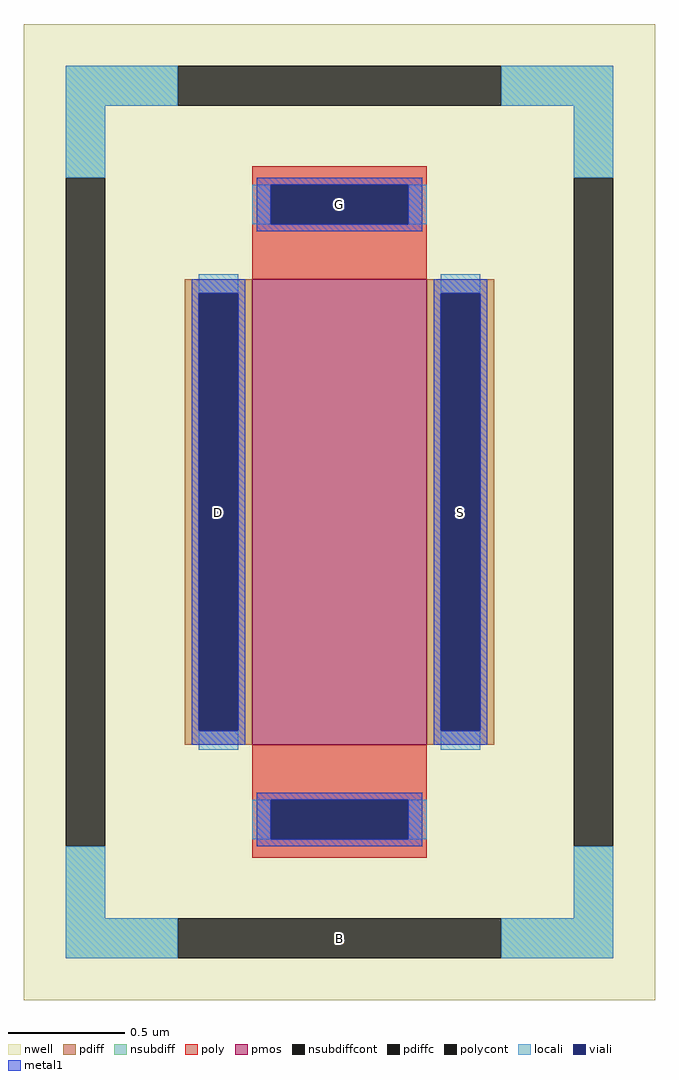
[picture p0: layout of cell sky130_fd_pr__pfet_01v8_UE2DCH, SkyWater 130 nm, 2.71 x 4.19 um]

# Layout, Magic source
magic
tech sky130A
magscale 1 2
<< nwell >>
rect -271 -419 271 419
<< pmos >>
rect -75 -200 75 200
<< pdiff >>
rect -133 188 -75 200
rect -133 -188 -121 188
rect -87 -188 -75 188
rect -133 -200 -75 -188
rect 75 188 133 200
rect 75 -188 87 188
rect 121 -188 133 188
rect 75 -200 133 -188
<< pdiffc >>
rect -121 -188 -87 188
rect 87 -188 121 188
<< nsubdiff >>
rect -235 349 -139 383
rect 139 349 235 383
rect -235 287 -201 349
rect 201 287 235 349
rect -235 -349 -201 -287
rect 201 -349 235 -287
rect -235 -383 -139 -349
rect 139 -383 235 -349
<< nsubdiffcont >>
rect -139 349 139 383
rect -235 -287 -201 287
rect 201 -287 235 287
rect -139 -383 139 -349
<< poly >>
rect -75 281 75 297
rect -75 247 -59 281
rect 59 247 75 281
rect -75 200 75 247
rect -75 -247 75 -200
rect -75 -281 -59 -247
rect 59 -281 75 -247
rect -75 -297 75 -281
<< polycont >>
rect -59 247 59 281
rect -59 -281 59 -247
<< locali >>
rect -235 349 -139 383
rect 139 349 235 383
rect -235 287 -201 349
rect 201 287 235 349
rect -75 247 -59 281
rect 59 247 75 281
rect -121 188 -87 204
rect -121 -204 -87 -188
rect 87 188 121 204
rect 87 -204 121 -188
rect -75 -281 -59 -247
rect 59 -281 75 -247
rect -235 -349 -201 -287
rect 201 -349 235 -287
rect -235 -383 -139 -349
rect 139 -383 235 -349
<< viali >>
rect -59 247 59 281
rect -121 -188 -87 188
rect 87 -188 121 188
rect -59 -281 59 -247
<< metal1 >>
rect -71 281 71 287
rect -71 247 -59 281
rect 59 247 71 281
rect -71 241 71 247
rect -127 188 -81 200
rect -127 -188 -121 188
rect -87 -188 -81 188
rect -127 -200 -81 -188
rect 81 188 127 200
rect 81 -188 87 188
rect 121 -188 127 188
rect 81 -200 127 -188
rect -71 -247 71 -241
rect -71 -281 -59 -247
rect 59 -281 71 -247
rect -71 -287 71 -281
<< labels >>
rlabel nsubdiffcont 0 -366 0 -366 0 B
port 21 nsew
rlabel pdiffc -104 0 -104 0 0 D
port 22 nsew
rlabel pdiffc 104 0 104 0 0 S
port 23 nsew
rlabel polycont 0 264 0 264 0 G
port 24 nsew
<< properties >>
string FIXED_BBOX -218 -366 218 366
string gencell sky130_fd_pr__pfet_01v8
string library sky130
string parameters w 2.0 l 0.75 m 1 nf 1 diffcov 100 polycov 100 guard 1 glc 1 grc 1 gtc 1 gbc 1 tbcov 100 rlcov 100 topc 1 botc 1 poverlap 0 doverlap 1 lmin 0.15 wmin 0.42 class mosfet compatible {sky130_fd_pr__pfet_01v8  sky130_fd_pr__pfet_01v8_lvt sky130_fd_pr__pfet_01v8_hvt  sky130_fd_pr__pfet_g5v0d10v5} full_metal 1 viasrc 100 viadrn 100 viagate 100 viagb 0 viagr 0 viagl 0 viagt 0 doports 1
<< end >>
